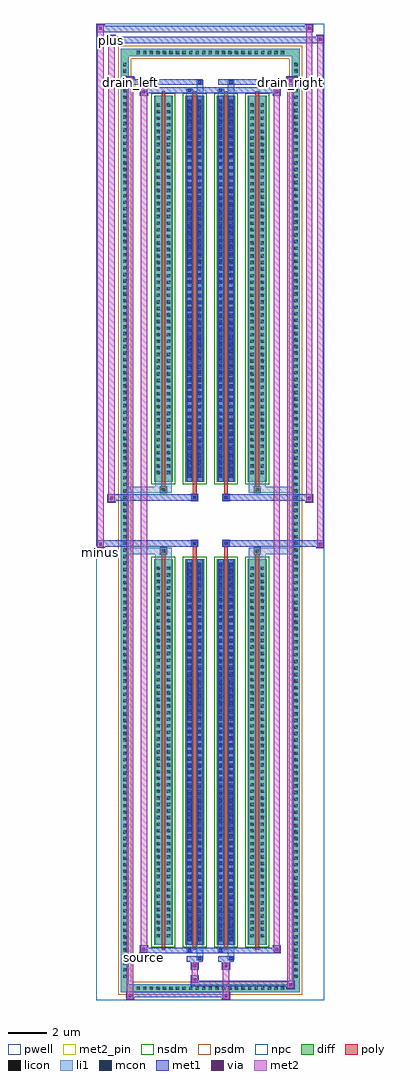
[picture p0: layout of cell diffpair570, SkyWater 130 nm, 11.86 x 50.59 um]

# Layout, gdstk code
import gdstk
lib = gdstk.Library(unit=1e-6, precision=5e-09)
def R(c, l, rs):  # rectangles x0, y0, x1, y1
    for r in rs: c.add(gdstk.rectangle(r[:2], r[2:], *l))
def A(c, l, x, y, w, h, nx, ny, dx, dy):  # array of equal rectangles
    R(c, l, [(x+i*dx, y+j*dy, x+i*dx+w, y+j*dy+h) for i in range(nx) for j in range(ny)])
def P(c, l, *ps):  # polygons
    for p in ps: c.add(gdstk.Polygon(p, *l))
pwell = (64, 44)
diff = (65, 20)
poly = (66, 20)
licon = (66, 44)
li1 = (67, 20)
mcon = (67, 44)
met1 = (68, 20)
via = (68, 44)
met2_pin = (69, 16)
met2 = (69, 20)
nsdm = (93, 44)
psdm = (94, 20)
npc = (95, 20)

diffpair570 = lib.new_cell('diffpair570')
R(diffpair570, pwell, [(-5.91,-24.86,5.91,25.73), (-3.23,-23.05,-0.01,-0.825), (0.01,-23.05,3.23,-0.825), (-3.23,0.825,-0.01,23.05), (0.01,0.825,3.23,23.05)])
A(diffpair570, diff, -3.945, -24.46, 0.41, 0.41, 23, 2, 0.34, 48.51)
A(diffpair570, diff, -4.64, -23.835, 0.41, 0.41, 1, 140, 0, 0.34)
A(diffpair570, diff, 4.23, -23.835, 0.41, 0.41, 1, 140, 0, 0.34)
A(diffpair570, diff, -2.92, -22.005, 0.98, 20, 4, 2, 1.62, 24.01)
R(diffpair570, diff, [(-3.945,-24.46,3.945,-24.05), (-4.64,-23.835,-4.23,23.835), (4.23,-23.835,4.64,23.835), (-3.945,24.05,3.945,24.46)])
P(diffpair570, diff, [(4.64,24.46),(-4.64,24.46),(-4.64,-24.05),(-4.23,-24.05),(-4.23,24.05),(4.23,24.05),(4.23,-24.05),(-4.23,-24.05),(-4.64,-24.05),(-4.64,-24.46),(4.64,-24.46)])
A(diffpair570, poly, -2.53, -22.255, 0.2, 20.5, 4, 2, 1.62, 24.01)
R(diffpair570, poly, [(-2.595,-1.755,-2.265,-1.425), (-2.595,-1.755,-2.265,-1.425), (-0.91,-1.755,-0.71,-1.355), (0.71,-1.755,0.91,-1.355), (2.265,-1.755,2.595,-1.425), (2.265,-1.755,2.595,-1.425), (-0.975,-1.355,-0.645,-1.025), (-0.975,-1.355,-0.645,-1.025), (0.645,-1.355,0.975,-1.025), (0.645,-1.355,0.975,-1.025), (-0.975,1.025,-0.645,1.355), (-0.975,1.025,-0.645,1.355), (0.645,1.025,0.975,1.355), (0.645,1.025,0.975,1.355), (-0.91,1.355,-0.71,1.755), (0.71,1.355,0.91,1.755), (-2.595,1.425,-2.265,1.755), (-2.595,1.425,-2.265,1.755), (2.265,1.425,2.595,1.755), (2.265,1.425,2.595,1.755)])
A(diffpair570, licon, -3.825, -24.34, 0.17, 0.17, 23, 2, 0.34, 48.51)
A(diffpair570, licon, -4.52, -23.715, 0.17, 0.17, 1, 140, 0, 0.34)
A(diffpair570, licon, 4.35, -23.715, 0.17, 0.17, 1, 140, 0, 0.34)
A(diffpair570, licon, -2.78, -21.61, 0.17, 0.17, 1, 57, 0, 0.34)
A(diffpair570, licon, -2.25, -21.61, 0.17, 0.17, 1, 57, 0, 0.34)
A(diffpair570, licon, -1.16, -21.61, 0.17, 0.17, 1, 57, 0, 0.34)
A(diffpair570, licon, -0.63, -21.61, 0.17, 0.17, 1, 57, 0, 0.34)
A(diffpair570, licon, 0.46, -21.61, 0.17, 0.17, 1, 57, 0, 0.34)
A(diffpair570, licon, 0.99, -21.61, 0.17, 0.17, 1, 57, 0, 0.34)
A(diffpair570, licon, 2.08, -21.61, 0.17, 0.17, 1, 57, 0, 0.34)
A(diffpair570, licon, 2.61, -21.61, 0.17, 0.17, 1, 57, 0, 0.34)
A(diffpair570, licon, -2.78, 2.4, 0.17, 0.17, 1, 57, 0, 0.34)
A(diffpair570, licon, -2.25, 2.4, 0.17, 0.17, 1, 57, 0, 0.34)
A(diffpair570, licon, -1.16, 2.4, 0.17, 0.17, 1, 57, 0, 0.34)
A(diffpair570, licon, -0.63, 2.4, 0.17, 0.17, 1, 57, 0, 0.34)
A(diffpair570, licon, 0.46, 2.4, 0.17, 0.17, 1, 57, 0, 0.34)
A(diffpair570, licon, 0.99, 2.4, 0.17, 0.17, 1, 57, 0, 0.34)
A(diffpair570, licon, 2.08, 2.4, 0.17, 0.17, 1, 57, 0, 0.34)
A(diffpair570, licon, 2.61, 2.4, 0.17, 0.17, 1, 57, 0, 0.34)
R(diffpair570, licon, [(-2.515,-1.675,-2.345,-1.505), (2.345,-1.675,2.515,-1.505), (-0.895,-1.275,-0.725,-1.105), (0.725,-1.275,0.895,-1.105), (-0.895,1.105,-0.725,1.275), (0.725,1.105,0.895,1.275), (-2.515,1.505,-2.345,1.675), (2.345,1.505,2.515,1.675)])
A(diffpair570, li1, -3.905, -24.42, 0.33, 0.33, 23, 2, 0.34, 48.51)
A(diffpair570, li1, -4.6, -23.795, 0.33, 0.33, 1, 140, 0, 0.34)
A(diffpair570, li1, 4.27, -23.795, 0.33, 0.33, 1, 140, 0, 0.34)
A(diffpair570, li1, -1.16, -21.81, 0.17, 0.17, 1, 55, 0, 0.36)
A(diffpair570, li1, -0.63, -21.81, 0.17, 0.17, 1, 55, 0, 0.36)
A(diffpair570, li1, 0.46, -21.81, 0.17, 0.17, 1, 55, 0, 0.36)
A(diffpair570, li1, 0.99, -21.81, 0.17, 0.17, 1, 55, 0, 0.36)
A(diffpair570, li1, -2.86, -21.69, 0.33, 0.33, 1, 57, 0, 0.34)
A(diffpair570, li1, -2.33, -21.69, 0.33, 0.33, 1, 57, 0, 0.34)
A(diffpair570, li1, -1.24, -21.69, 0.33, 0.33, 1, 57, 0, 0.34)
A(diffpair570, li1, -0.71, -21.69, 0.33, 0.33, 1, 57, 0, 0.34)
A(diffpair570, li1, 0.38, -21.69, 0.33, 0.33, 1, 57, 0, 0.34)
A(diffpair570, li1, 0.91, -21.69, 0.33, 0.33, 1, 57, 0, 0.34)
A(diffpair570, li1, 2, -21.69, 0.33, 0.33, 1, 57, 0, 0.34)
A(diffpair570, li1, 2.53, -21.69, 0.33, 0.33, 1, 57, 0, 0.34)
A(diffpair570, li1, -1.16, 2.2, 0.17, 0.17, 1, 55, 0, 0.36)
A(diffpair570, li1, -0.63, 2.2, 0.17, 0.17, 1, 55, 0, 0.36)
A(diffpair570, li1, 0.46, 2.2, 0.17, 0.17, 1, 55, 0, 0.36)
A(diffpair570, li1, 0.99, 2.2, 0.17, 0.17, 1, 55, 0, 0.36)
A(diffpair570, li1, -2.86, 2.32, 0.33, 0.33, 1, 57, 0, 0.34)
A(diffpair570, li1, -2.33, 2.32, 0.33, 0.33, 1, 57, 0, 0.34)
A(diffpair570, li1, -1.24, 2.32, 0.33, 0.33, 1, 57, 0, 0.34)
A(diffpair570, li1, -0.71, 2.32, 0.33, 0.33, 1, 57, 0, 0.34)
A(diffpair570, li1, 0.38, 2.32, 0.33, 0.33, 1, 57, 0, 0.34)
A(diffpair570, li1, 0.91, 2.32, 0.33, 0.33, 1, 57, 0, 0.34)
A(diffpair570, li1, 2, 2.32, 0.33, 0.33, 1, 57, 0, 0.34)
A(diffpair570, li1, 2.53, 2.32, 0.33, 0.33, 1, 57, 0, 0.34)
R(diffpair570, li1, [(-4.64,-24.46,-4.23,-24.05), (-4.64,-24.46,-4.23,-24.05), (-4.23,-24.46,4.23,-24.05), (4.23,-24.46,4.64,-24.05), (4.23,-24.46,4.64,-24.05), (-4.64,-24.05,-4.23,24.05), (4.23,-24.05,4.64,24.05), (-0.71,-22.81,-0.38,-22.005), (-0.63,-22.81,-0.46,-22.64), (0.91,-22.81,1.24,-22.005), (0.99,-22.81,1.16,-22.64), (-1.24,-22.38,-0.91,-22.005), (-1.16,-22.38,-0.99,-22.21), (0.38,-22.38,0.71,-22.005), (0.46,-22.38,0.63,-22.21), (-2.86,-22.005,-2.53,-2.005), (-2.33,-22.005,-2,-2.005), (-1.24,-22.005,-0.91,-2.005), (-0.71,-22.005,-0.38,-2.005), (0.38,-22.005,0.71,-2.005), (0.91,-22.005,1.24,-2.005), (2,-22.005,2.33,-2.005), (2.53,-22.005,2.86,-2.005), (-1.16,-21.81,-0.99,-2.2), (-0.63,-21.81,-0.46,-2.2), (0.46,-21.81,0.63,-2.2), (0.99,-21.81,1.16,-2.2), (-2.86,-2.005,-2.53,-1.425), (-2.33,-2.005,-2,-1.425), (2,-2.005,2.33,-1.425), (2.53,-2.005,2.86,-1.425), (-4.64,-1.755,-2.595,-1.425), (-2.86,-1.755,-2.595,-1.425), (-2.595,-1.755,-2.265,-1.425), (-2.265,-1.755,-2,-1.425), (2,-1.755,2.265,-1.425), (2.265,-1.755,2.595,-1.425), (2.265,-1.755,4.64,-1.425), (2.595,-1.755,2.86,-1.425), (-0.975,-1.355,-0.645,-1.025), (0.645,-1.355,0.975,-1.025), (-0.975,1.025,-0.645,1.355), (0.645,1.025,0.975,1.355), (-4.64,1.425,-2.595,1.755), (-2.86,1.425,-2.595,1.755), (-2.86,1.425,-2.53,2.005), (-2.595,1.425,-2.265,1.755), (-2.33,1.425,-2,2.005), (-2.265,1.425,-2,1.755), (2,1.425,2.265,1.755), (2,1.425,2.33,2.005), (2.265,1.425,2.595,1.755), (2.265,1.425,4.64,1.755), (2.53,1.425,2.86,2.005), (2.595,1.425,2.86,1.755), (-2.86,2.005,-2.53,22.005), (-2.33,2.005,-2,22.005), (-1.24,2.005,-0.91,22.005), (-0.71,2.005,-0.38,22.005), (0.38,2.005,0.71,22.005), (0.91,2.005,1.24,22.005), (2,2.005,2.33,22.005), (2.53,2.005,2.86,22.005), (-1.16,2.2,-0.99,21.81), (-0.63,2.2,-0.46,21.81), (0.46,2.2,0.63,21.81), (0.99,2.2,1.16,21.81), (-1.24,22.005,-0.91,22.38), (-0.71,22.005,-0.38,22.81), (0.38,22.005,0.71,22.38), (0.91,22.005,1.24,22.81), (-1.16,22.21,-0.99,22.38), (0.46,22.21,0.63,22.38), (-0.63,22.64,-0.46,22.81), (0.99,22.64,1.16,22.81), (-4.64,24.05,-4.23,24.46), (-4.64,24.05,-4.23,24.46), (-4.23,24.05,4.23,24.46), (4.23,24.05,4.64,24.46), (4.23,24.05,4.64,24.46)])
A(diffpair570, mcon, -1.16, -21.81, 0.17, 0.17, 1, 55, 0, 0.36)
A(diffpair570, mcon, -0.63, -21.81, 0.17, 0.17, 1, 55, 0, 0.36)
A(diffpair570, mcon, 0.46, -21.81, 0.17, 0.17, 1, 55, 0, 0.36)
A(diffpair570, mcon, 0.99, -21.81, 0.17, 0.17, 1, 55, 0, 0.36)
A(diffpair570, mcon, -1.16, 2.2, 0.17, 0.17, 1, 55, 0, 0.36)
A(diffpair570, mcon, -0.63, 2.2, 0.17, 0.17, 1, 55, 0, 0.36)
A(diffpair570, mcon, 0.46, 2.2, 0.17, 0.17, 1, 55, 0, 0.36)
A(diffpair570, mcon, 0.99, 2.2, 0.17, 0.17, 1, 55, 0, 0.36)
R(diffpair570, mcon, [(-0.63,-22.81,-0.46,-22.64), (0.99,-22.81,1.16,-22.64), (-1.16,-22.38,-0.99,-22.21), (0.46,-22.38,0.63,-22.21), (-0.895,-1.275,-0.725,-1.105), (0.725,-1.275,0.895,-1.105), (-0.895,1.105,-0.725,1.275), (0.725,1.105,0.895,1.275), (-1.16,22.21,-0.99,22.38), (0.46,22.21,0.63,22.38), (-0.63,22.64,-0.46,22.81), (0.99,22.64,1.16,22.81)])
A(diffpair570, met1, -1.22, -21.87, 0.29, 0.29, 1, 55, 0, 0.36)
A(diffpair570, met1, -0.69, -21.87, 0.29, 0.29, 1, 55, 0, 0.36)
A(diffpair570, met1, 0.4, -21.87, 0.29, 0.29, 1, 55, 0, 0.36)
A(diffpair570, met1, 0.93, -21.87, 0.29, 0.29, 1, 55, 0, 0.36)
A(diffpair570, met1, -1.22, 2.14, 0.29, 0.29, 1, 55, 0, 0.36)
A(diffpair570, met1, -0.69, 2.14, 0.29, 0.29, 1, 55, 0, 0.36)
A(diffpair570, met1, 0.4, 2.14, 0.29, 0.29, 1, 55, 0, 0.36)
A(diffpair570, met1, 0.93, 2.14, 0.29, 0.29, 1, 55, 0, 0.36)
R(diffpair570, met1, [(-4.37,-24.86,-3.94,-24.43), (0.595,-24.86,1.025,-24.43), (-4.37,-24.72,1.025,-24.43), (3.94,-24.29,4.37,-23.86), (-1.025,-24.15,4.37,-23.86), (-1.025,-24.01,-0.595,-23.58), (-1.025,-23.3,-0.595,-22.87), (0.595,-23.3,1.025,-22.87), (-1.22,-22.87,-0.4,-22.58), (-0.69,-22.87,-0.4,-22.58), (0.4,-22.87,1.22,-22.58), (0.93,-22.87,1.22,-22.58), (-3.66,-22.44,-3.23,-22.01), (-3.66,-22.44,-1.22,-22.15), (-1.22,-22.44,-0.93,-22.15), (-1.22,-22.44,-0.4,-22.15), (-0.4,-22.44,0.4,-22.15), (0.4,-22.44,0.69,-22.15), (0.4,-22.44,1.22,-22.15), (1.22,-22.44,3.66,-22.15), (3.23,-22.44,3.66,-22.01), (-1.22,-22.005,-0.93,-2.005), (-0.69,-22.005,-0.4,-2.005), (0.4,-22.005,0.69,-2.005), (0.93,-22.005,1.22,-2.005), (-5.91,-1.455,-5.48,-1.025), (5.48,-1.455,5.91,-1.025), (-5.91,-1.355,-0.645,-1.025), (-0.975,-1.355,-0.645,-1.025), (0.645,-1.355,0.975,-1.025), (0.645,-1.355,5.91,-1.025), (-0.955,-1.335,-0.665,-1.045), (0.665,-1.335,0.955,-1.045), (-5.34,0.925,-4.91,1.355), (4.91,0.925,5.34,1.355), (-5.34,1.025,-0.975,1.355), (-0.975,1.025,-0.645,1.355), (0.645,1.025,0.975,1.355), (0.975,1.025,5.34,1.355), (-0.955,1.045,-0.665,1.335), (0.665,1.045,0.955,1.335), (-1.22,2.005,-0.93,22.005), (-0.69,2.005,-0.4,22.005), (0.4,2.005,0.69,22.005), (0.93,2.005,1.22,22.005), (-3.66,22.01,-3.23,22.44), (3.23,22.01,3.66,22.44), (-3.66,22.15,-1.22,22.44), (-1.22,22.15,-0.93,22.44), (-1.22,22.15,-0.4,22.44), (-0.4,22.15,0.4,22.44), (0.4,22.15,0.69,22.44), (0.4,22.15,1.22,22.44), (1.22,22.15,3.66,22.44), (-4.37,22.58,-3.94,23.01), (-4.37,22.58,-1.22,22.87), (-1.22,22.58,-0.4,22.87), (-0.69,22.58,-0.4,22.87), (0.4,22.58,1.22,22.87), (0.93,22.58,1.22,22.87), (1.22,22.58,4.37,22.87), (3.94,22.58,4.37,23.01), (-5.34,24.73,-4.91,25.16), (-5.34,24.73,-3.23,25.06), (-3.23,24.73,3.23,25.06), (3.23,24.73,5.91,25.06), (5.48,24.73,5.91,25.16), (-5.91,25.3,-5.48,25.73), (-5.91,25.3,-3.23,25.63), (-3.23,25.3,3.23,25.63), (3.23,25.3,5.34,25.63), (4.91,25.3,5.34,25.73)])
R(diffpair570, via, [(-4.23,-24.72,-4.08,-24.57), (0.735,-24.72,0.885,-24.57), (4.08,-24.15,4.23,-24), (-0.885,-23.87,-0.735,-23.72), (-0.885,-23.16,-0.735,-23.01), (0.735,-23.16,0.885,-23.01), (-3.52,-22.3,-3.37,-22.15), (3.37,-22.3,3.52,-22.15), (-5.77,-1.315,-5.62,-1.165), (5.62,-1.315,5.77,-1.165), (-5.2,1.065,-5.05,1.215), (5.05,1.065,5.2,1.215), (-3.52,22.15,-3.37,22.3), (3.37,22.15,3.52,22.3), (-4.23,22.72,-4.08,22.87), (4.08,22.72,4.23,22.87), (-5.2,24.87,-5.05,25.02), (5.62,24.87,5.77,25.02), (-5.77,25.44,-5.62,25.59), (5.05,25.44,5.2,25.59)])
R(diffpair570, met2_pin, [(-3.695,-22.89,-3.195,-22.39), (-5.945,-1.905,-5.445,-1.405), (-4.405,22.46,-3.905,22.96), (3.905,22.46,4.405,22.96), (-5.375,24.61,-4.875,25.11)])
R(diffpair570, met2, [(-4.32,-24.81,-3.99,-24.48), (-4.32,-24.81,-3.99,22.96), (0.645,-24.81,0.975,-24.48), (0.645,-24.48,0.975,-23.25), (3.99,-24.24,4.32,-23.91), (3.99,-24.24,4.32,22.96), (-0.975,-23.96,-0.645,-23.63), (-0.975,-23.63,-0.645,-23.25), (-0.975,-23.25,-0.645,-22.92), (0.645,-23.25,0.975,-22.92), (-3.61,-22.39,-3.28,-22.06), (-3.61,-22.39,-3.28,22.39), (3.28,-22.39,3.61,-22.06), (3.28,-22.39,3.61,22.39), (-5.86,-1.405,-5.53,-1.075), (-5.86,-1.405,-5.53,25.68), (5.53,-1.405,5.86,-1.075), (5.53,-1.405,5.86,25.11), (-5.29,0.975,-4.96,1.305), (-5.29,0.975,-4.96,25.11), (4.96,0.975,5.29,1.305), (4.96,0.975,5.29,25.68), (-3.61,22.06,-3.28,22.39), (3.28,22.06,3.61,22.39), (-4.32,22.63,-3.99,22.96), (3.99,22.63,4.32,22.96), (-5.29,24.78,-4.96,25.11), (5.53,24.78,5.86,25.11), (-5.86,25.35,-5.53,25.68), (4.96,25.35,5.29,25.68)])
P(diffpair570, met2, [(5.86,-1.405),(5.86,-1.405),(5.86,-1.075),(5.86,-1.075)],
  [(5.86,24.78),(5.86,24.78),(5.86,25.11),(5.86,25.11)],
  [(-5.53,-1.405),(-5.53,-1.405),(-5.53,-1.075),(-5.53,-1.075)],
  [(-5.53,25.35),(-5.53,25.35),(-5.53,25.68),(-5.53,25.68)],
  [(5.29,0.975),(5.29,0.975),(5.29,1.305),(5.29,1.305)],
  [(5.29,25.35),(5.29,25.35),(5.29,25.68),(5.29,25.68)],
  [(-4.96,0.975),(-4.96,0.975),(-4.96,1.305),(-4.96,1.305)],
  [(-4.96,24.78),(-4.96,24.78),(-4.96,25.11),(-4.96,25.11)],
  [(-3.99,-24.81),(-3.99,-24.81),(-3.99,-24.48),(-3.99,-24.48)],
  [(-3.99,22.63),(-3.99,22.63),(-3.99,22.96),(-3.99,22.96)],
  [(4.32,-24.24),(4.32,-24.24),(4.32,-23.91),(4.32,-23.91)],
  [(4.32,22.63),(4.32,22.63),(4.32,22.96),(4.32,22.96)],
  [(-3.28,-22.39),(-3.28,-22.39),(-3.28,-22.06),(-3.28,-22.06)],
  [(-3.28,22.06),(-3.28,22.06),(-3.28,22.39),(-3.28,22.39)],
  [(3.61,-22.39),(3.61,-22.39),(3.61,-22.06),(3.61,-22.06)],
  [(3.61,22.06),(3.61,22.06),(3.61,22.39),(3.61,22.39)])
A(diffpair570, nsdm, -3.05, -22.135, 1.24, 20.26, 4, 2, 1.62, 24.01)
P(diffpair570, psdm, [(4.77,24.59),(-4.77,24.59),(-4.77,-23.92),(-4.1,-23.92),(-4.1,23.92),(4.1,23.92),(4.1,-23.92),(-4.1,-23.92),(-4.77,-23.92),(-4.77,-24.59),(4.77,-24.59)])
R(diffpair570, npc, [(-2.615,-1.775,-2.245,-1.405), (2.245,-1.775,2.615,-1.405), (-0.995,-1.375,-0.625,-1.005), (0.625,-1.375,0.995,-1.005), (-0.995,1.005,-0.625,1.375), (0.625,1.005,0.995,1.375), (-2.615,1.405,-2.245,1.775), (2.245,1.405,2.615,1.775)])
diffpair570.add(gdstk.Label('minus', (-5.695,-1.655), layer=69, texttype=5))
diffpair570.add(gdstk.Label('drain_right', (4.155,22.71), layer=69, texttype=5))
diffpair570.add(gdstk.Label('drain_left', (-4.155,22.71), layer=69, texttype=5))
diffpair570.add(gdstk.Label('source', (-3.445,-22.64), layer=69, texttype=5))
diffpair570.add(gdstk.Label('plus', (-5.125,24.86), layer=69, texttype=5))

lib.write_gds('diffpair570.gds')
